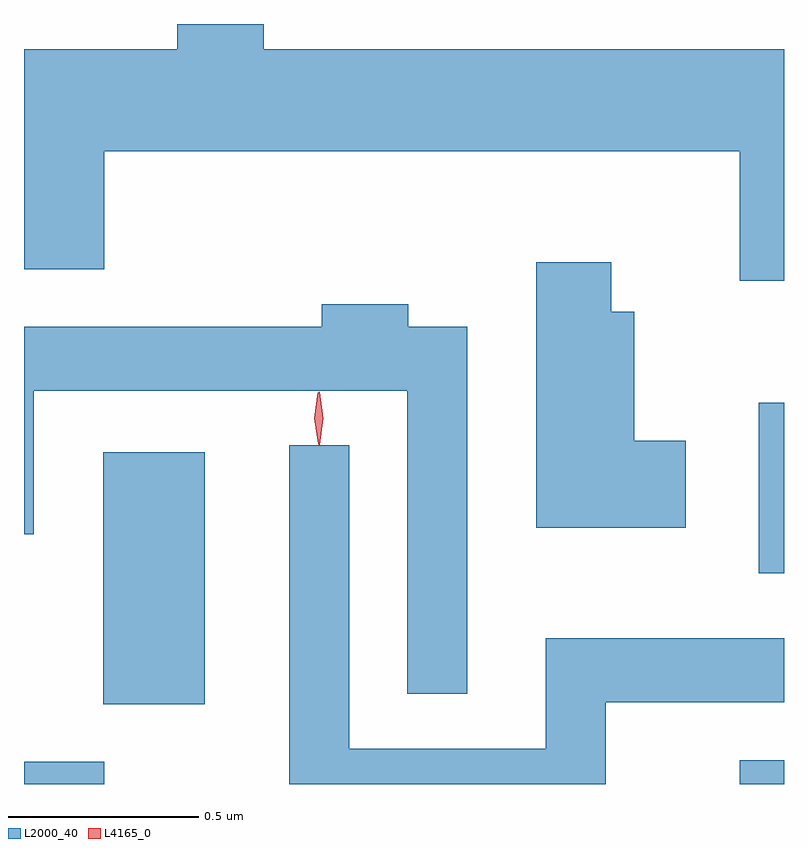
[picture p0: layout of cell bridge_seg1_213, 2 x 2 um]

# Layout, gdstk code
import gdstk
lib = gdstk.Library(unit=1e-6, precision=1e-09)
def R(c, l, rs):  # rectangles x0, y0, x1, y1
    for r in rs: c.add(gdstk.rectangle(r[:2], r[2:], *l))
def P(c, l, *ps):  # polygons
    for p in ps: c.add(gdstk.Polygon(p, *l))
L2000_40 = (2000, 40)
L4165_0 = (4165, 0)

bridge_seg1_213 = lib.new_cell('bridge_seg1_213')
R(bridge_seg1_213, L2000_40, [(799.288,960.071,799.499,960.129), (801.171,960.071,801.288,960.134), (799.496,960.281,799.764,960.944), (801.221,960.626,801.288,961.074)])
P(bridge_seg1_213, L2000_40, [(801.288,962.004),(799.919,962.004),(799.919,962.071),(799.691,962.071),(799.691,962.004),(799.288,962.004),(799.288,961.426),(799.499,961.426),(799.499,961.736),(801.171,961.736),(801.171,961.396),(801.288,961.396)],
  [(801.029,960.974),(800.894,960.974),(800.894,961.314),(800.834,961.314),(800.834,961.444),(800.636,961.444),(800.636,960.746),(801.029,960.746)],
  [(800.454,961.274),(800.299,961.274),(800.299,961.334),(800.071,961.334),(800.071,961.274),(799.288,961.274),(799.288,960.728),(799.314,960.728),(799.314,961.106),(800.296,961.106),(800.296,960.308),(800.454,960.308)],
  [(800.819,960.286),(801.288,960.286),(801.288,960.454),(800.661,960.454),(800.661,960.164),(800.144,960.164),(800.144,960.963),(799.986,960.963),(799.986,960.071),(800.819,960.071)])
P(bridge_seg1_213, L4165_0, [(800.062,960.967),(800.062,960.967),(800.052,961.034),(800.061,961.1),(800.062,961.1),(800.062,961.1),(800.072,961.034),(800.063,960.967)],
  [(800.064,960.964),(800.055,961.033),(800.064,961.102),(800.065,961.103),(800.066,961.102),(800.075,961.033),(800.066,960.964),(800.065,960.964)])

lib.write_gds('bridge_seg1_213.gds')
